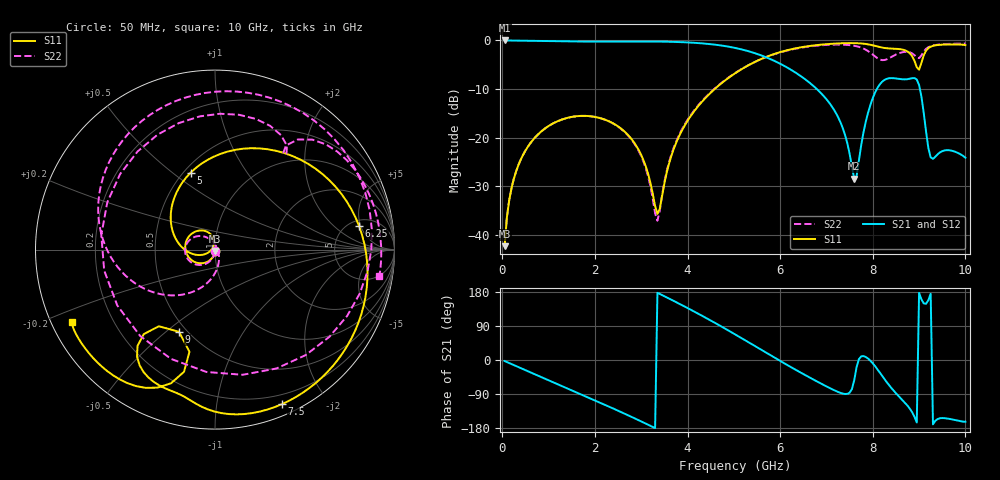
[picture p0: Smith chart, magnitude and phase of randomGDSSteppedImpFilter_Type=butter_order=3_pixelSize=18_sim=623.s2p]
! freq	dB(S11)	phase(S11)	dB(S12)	phase(S12)
!  dB(S21)	phase(S21)	dB(S22)	phase(S22)
!S-par simulation data
#  GHz  S  DB  R 50
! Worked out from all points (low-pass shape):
!   200 points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, 50 MHz to 10 GHz, reference 50 ohm
!   highest |S21| = -0.01 dB at 50 MHz (marker M1); lowest = -28.5 dB at 7.6 GHz (marker M2)
!   |S21| within 3 dB of the highest: start of sweep to 5.569 GHz
!   lowest |S11| = -42.4 dB at 50 MHz (marker M3), VSWR 1.02, Z = 50 - j0.76 ohm
!   |S11| at or under -10 dB: start of sweep to 4.588 GHz
!   |S22| runs from -42.4 to -0.6 dB; largest |S21 - S12| = 0
!   S11 on the Smith chart (normalised r, x): 50 MHz: 1.00, -0.02; 5 GHz: 0.54, +0.58; 6.25 GHz: 6.04, +4.68; 7.5 GHz: 0.11, -1.52; 9 GHz: 0.45, -0.55; 10 GHz: 0.06, -0.24
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0.05  -42.37 -92.4  -0.01 -2.7  -0.01 -2.7  -42.36 -92.1
0.2  -30.38 -101.6  -0.02 -10.8  -0.02 -10.8  -30.37 -100.0
0.5  -22.68 -119.1  -0.06 -26.9  -0.06 -26.9  -22.68 -115.3
1.75  -15.53 168.7  -0.23 -93.2  -0.23 -93.2  -15.54 -176.8
2.75  -19.85 110.9  -0.22 -147.8  -0.22 -147.8  -19.95 132.3
3.4  -34.68 175.2  -0.24 174.3  -0.24 174.3  -35.09 -19.0
3.9  -18.17 -168.1  -0.36 143.5  -0.36 143.5  -17.96 -88.9
5  -6.94 107.5  -1.49 69.6  -1.49 69.6  -6.89 -151.6
5.05  -6.62 103.4  -1.59 66.0  -1.59 66.0  -6.57 -154.6
5.65  -3.59 54.4  -3.29 22.7  -3.29 22.7  -3.61 167.6
6.25  -1.79 9.3  -6.13 -20.0  -6.13 -20.0  -1.86 126.6
6.7  -1.06 -20.7  -9.22 -50.4  -9.22 -50.4  -1.17 93.8
7.5  -0.55 -66.5  -23.34 -86.3  -23.34 -86.3  -0.96 20.6
7.6  -0.56 -71.9  -28.49 -53.0  -28.49 -53.0  -1.10 7.3
7.8  -0.67 -82.5  -18.91 10.4  -18.91 10.4  -1.68 -26.6
8  -1.00 -92.6  -11.87 -8.8  -11.87 -8.8  -2.92 -77.6
8.2  -1.47 -100.3  -8.52 -41.5  -8.52 -41.5  -4.05 -150.3
8.35  -1.65 -105.1  -7.79 -66.2  -7.79 -66.2  -3.67 156.3
8.6  -1.81 -115.0  -7.97 -100.5  -7.97 -100.5  -2.53 96.5
9  -6.02 -113.7  -9.18 177.0  -9.18 177.0  -3.65 54.7
9.25  -1.29 -116.7  -24.09 174.9  -24.09 174.9  -1.18 38.7
10  -0.96 -153.2  -24.16 -162.9  -24.16 -162.9  -0.65 -9.1
